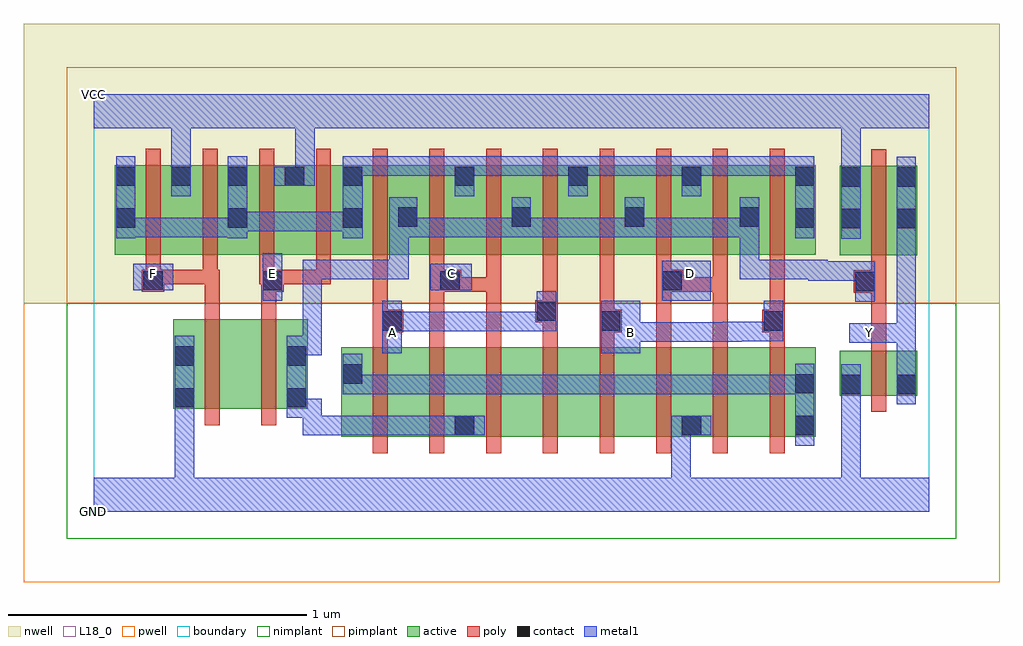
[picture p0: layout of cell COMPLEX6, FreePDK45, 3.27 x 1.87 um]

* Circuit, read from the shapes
.subckt COMPLEX6 A B C D E F GND VCC Y
M1 n1 F GND VSUBS nfet w=0.3u l=0.05u
M2 n2 E n1 VSUBS nfet w=0.3u l=0.05u
M3 n3 A n4 VSUBS nfet w=0.3u l=0.05u
M4 n2 C n3 VSUBS nfet w=0.3u l=0.05u
M5 n5 C n2 VSUBS nfet w=0.3u l=0.05u
M6 n6 A n5 VSUBS nfet w=0.3u l=0.05u
M7 n7 B n6 VSUBS nfet w=0.3u l=0.05u
M8 GND D n7 VSUBS nfet w=0.3u l=0.05u
M9 n8 D GND VSUBS nfet w=0.3u l=0.05u
M10 n4 B n8 VSUBS nfet w=0.3u l=0.05u
M11 Y n2 GND VSUBS nfet w=0.15u l=0.05u
M12 VCC F n9 n10 pfet w=0.3u l=0.05u m=2
M13 VCC E n9 n10 pfet w=0.3u l=0.05u m=2
M14 n2 A n9 n10 pfet w=0.3u l=0.05u m=2
M15 n9 C n2 n10 pfet w=0.3u l=0.05u m=2
M16 n2 B n9 n10 pfet w=0.3u l=0.05u m=2
M17 n9 D n2 n10 pfet w=0.3u l=0.05u m=2
M18 Y n2 VCC n10 pfet w=0.3u l=0.05u
.ends

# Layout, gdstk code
import gdstk
lib = gdstk.Library(unit=1e-6, precision=1e-09)
def R(c, l, rs):  # rectangles x0, y0, x1, y1
    for r in rs: c.add(gdstk.rectangle(r[:2], r[2:], *l))
def A(c, l, x, y, w, h, nx, ny, dx, dy):  # array of equal rectangles
    R(c, l, [(x+i*dx, y+j*dy, x+i*dx+w, y+j*dy+h) for i in range(nx) for j in range(ny)])
active = (1, 0)
pwell = (2, 0)
nwell = (3, 0)
nimplant = (4, 0)
pimplant = (5, 0)
poly = (9, 0)
contact = (10, 0)
metal1 = (11, 0)
L18_0 = (18, 0)
boundary = (235, 0)

complex6 = lib.new_cell('COMPLEX6')
A(complex6, active, 1.015, 0.862, 0.265, 0.3, 5, 1, 0.19, 0)
A(complex6, active, 1.015, 0.95, 0.075, 0.12, 3, 1, 0.38, 0)
R(complex6, active, [(0.83,0.252,1.055,0.552), (1.055,0.252,1.28,0.552), (1.205,0.252,1.435,0.552), (1.205,0.252,1.28,0.392), (1.435,0.252,1.625,0.552), (1.625,0.252,1.815,0.552), (1.815,0.252,2.04,0.552), (1.965,0.252,2.195,0.552), (1.965,0.252,2.04,0.392), (2.195,0.252,2.42,0.552), (2.345,0.252,2.42,0.552), (0.83,0.33,0.905,0.552), (0.267,0.345,0.342,0.645), (0.267,0.345,0.492,0.645), (0.492,0.345,0.717,0.645), (0.642,0.345,0.717,0.645), (2.5,0.39,2.575,0.54), (2.5,0.39,2.76,0.54), (2.685,0.39,2.76,0.54), (2.5,0.86,2.575,1.16), (2.5,0.86,2.76,1.16), (2.685,0.86,2.76,1.16), (0.07,0.862,0.145,1.162), (0.07,0.862,0.33,1.162), (0.255,0.862,0.52,1.162), (0.445,0.862,0.71,1.162), (0.635,0.862,0.905,1.162), (0.83,0.862,1.09,1.162), (1.965,0.862,2.235,1.162), (2.16,0.862,2.42,1.162), (2.345,0.862,2.42,1.162), (0.445,0.88,0.52,1.162), (1.585,0.912,1.66,1.162), (0.83,0.947,0.905,1.162), (2.16,0.95,2.235,1.07), (0.255,0.995,0.33,1.162), (0.635,0.995,0.71,1.162), (1.205,0.995,1.28,1.162), (1.965,0.995,2.04,1.162)])
R(complex6, pwell, [(-0.235,-0.235,3.035,0.7)])
R(complex6, nwell, [(-0.235,0.7,3.035,1.635)])
R(complex6, nimplant, [(-0.09,-0.09,2.89,0.7)])
R(complex6, pimplant, [(-0.09,0.7,2.89,1.49)])
A(complex6, poly, 0.935, 0.197, 0.05, 0.41, 8, 1, 0.19, 0)
A(complex6, poly, 0.175, 0.762, 0.05, 0.095, 4, 1, 0.19, 0)
A(complex6, poly, 0.175, 0.807, 0.05, 0.41, 12, 1, 0.19, 0)
R(complex6, poly, [(0.372,0.29,0.422,0.7), (0.562,0.29,0.612,0.7), (2.605,0.335,2.655,0.595), (2.605,0.545,2.655,0.785), (0.935,0.557,0.985,0.652), (1.125,0.557,1.175,0.787), (1.315,0.557,1.365,0.787), (1.505,0.557,1.555,0.685), (1.695,0.557,1.745,0.652), (1.885,0.557,1.935,0.787), (2.075,0.557,2.125,0.787), (2.265,0.557,2.315,0.652), (0.935,0.602,1.037,0.677), (1.695,0.602,1.77,0.677), (2.24,0.602,2.315,0.677), (0.935,0.627,0.985,0.677), (0.935,0.627,0.985,0.677), (0.935,0.627,0.985,0.857), (1.695,0.627,1.745,0.677), (1.695,0.627,1.745,0.677), (1.695,0.627,1.745,0.857), (2.265,0.627,2.315,0.677), (2.265,0.627,2.315,0.677), (2.265,0.627,2.315,0.857), (1.48,0.635,1.555,0.71), (0.372,0.65,0.422,0.812), (0.562,0.65,0.612,0.787), (1.505,0.66,1.555,0.71), (1.505,0.66,1.555,0.71), (1.505,0.66,1.555,0.857), (2.547,0.735,2.655,0.81), (2.605,0.735,2.655,0.785), (2.605,0.735,2.655,0.785), (0.162,0.737,0.237,0.812), (0.562,0.737,0.637,0.812), (1.125,0.737,1.175,0.787), (1.125,0.737,1.175,0.787), (1.125,0.737,1.232,0.812), (1.182,0.737,1.232,0.787), (1.182,0.737,1.232,0.787), (1.182,0.737,1.365,0.787), (1.315,0.737,1.365,0.787), (1.315,0.737,1.365,0.787), (1.315,0.737,1.365,0.787), (1.315,0.737,1.365,0.857), (1.885,0.737,1.935,0.787), (1.885,0.737,1.935,0.787), (1.885,0.737,2.125,0.787), (1.885,0.737,1.975,0.812), (2.075,0.737,2.125,0.787), (2.075,0.737,2.125,0.787), (2.075,0.737,2.125,0.787), (2.075,0.737,2.125,0.787), (2.075,0.737,2.125,0.787), (2.075,0.737,2.125,0.857), (2.605,0.76,2.655,0.855), (0.187,0.762,0.415,0.812), (0.365,0.762,0.415,0.812), (0.365,0.762,0.415,0.812), (0.365,0.762,0.422,0.812), (0.372,0.762,0.422,0.812), (0.372,0.762,0.422,0.812), (0.555,0.762,0.612,0.812), (0.562,0.762,0.612,0.812), (0.562,0.762,0.612,0.812), (0.562,0.762,0.612,0.812), (0.562,0.762,0.795,0.812), (0.745,0.762,0.795,0.812), (1.125,0.762,1.175,0.857), (1.885,0.762,1.935,0.857), (2.605,0.805,2.655,1.215)])
A(complex6, contact, 1.02, 0.955, 0.065, 0.065, 3, 1, 0.38, 0)
A(complex6, contact, 0.26, 1.092, 0.065, 0.065, 3, 1, 0.19, 0)
A(complex6, contact, 1.21, 1.092, 0.065, 0.065, 4, 1, 0.38, 0)
R(complex6, contact, [(1.21,0.257,1.275,0.322), (1.97,0.257,2.035,0.322), (2.35,0.257,2.415,0.322), (0.272,0.35,0.337,0.415), (0.647,0.35,0.712,0.415), (2.505,0.395,2.57,0.46), (2.69,0.395,2.755,0.46), (2.35,0.397,2.415,0.462), (0.835,0.43,0.9,0.495), (0.272,0.49,0.337,0.555), (0.647,0.49,0.712,0.555), (0.967,0.607,1.032,0.672), (1.7,0.607,1.765,0.672), (2.245,0.607,2.31,0.672), (1.485,0.64,1.55,0.705), (2.552,0.74,2.617,0.805), (0.167,0.742,0.232,0.807), (0.567,0.742,0.632,0.807), (1.162,0.742,1.227,0.807), (1.905,0.742,1.97,0.807), (2.505,0.95,2.57,1.015), (2.69,0.95,2.755,1.015), (0.075,0.952,0.14,1.017), (0.45,0.952,0.515,1.017), (0.835,0.952,0.9,1.017), (2.35,0.952,2.415,1.017), (2.165,0.955,2.23,1.02), (2.505,1.09,2.57,1.155), (2.69,1.09,2.755,1.155), (0.075,1.092,0.14,1.157), (0.835,1.092,0.9,1.157)])
A(complex6, metal1, 1.21, 1.057, 0.065, 0.135, 3, 1, 0.38, 0)
R(complex6, metal1, [(0,0,2.8,0.115), (0.272,0.05,0.337,0.115), (0.272,0.05,0.337,0.115), (0.272,0.05,0.337,0.38), (1.935,0.05,2,0.322), (2.505,0.05,2.57,0.115), (2.505,0.05,2.57,0.115), (2.505,0.05,2.57,0.425), (2.35,0.222,2.415,0.497), (0.7,0.257,0.902,0.322), (0.7,0.257,0.765,0.38), (0.837,0.257,0.902,0.322), (0.837,0.257,1.04,0.322), (0.975,0.257,1.04,0.322), (0.975,0.257,1.04,0.322), (0.975,0.257,1.04,0.322), (0.975,0.257,1.24,0.322), (1.175,0.257,1.24,0.322), (1.175,0.257,1.24,0.322), (1.175,0.257,1.31,0.322), (1.935,0.257,2,0.322), (1.935,0.257,2,0.322), (1.935,0.257,2.07,0.322), (0.272,0.315,0.337,0.59), (0.647,0.315,0.712,0.59), (0.647,0.315,0.765,0.38), (2.505,0.36,2.57,0.425), (2.505,0.36,2.57,0.425), (2.505,0.36,2.57,0.495), (2.69,0.36,2.755,0.495), (0.835,0.395,0.9,0.53), (0.835,0.395,1.055,0.46), (0.99,0.395,1.055,0.46), (0.99,0.395,1.055,0.46), (0.99,0.395,1.055,0.46), (0.99,0.395,1.275,0.46), (1.21,0.395,1.275,0.46), (1.21,0.395,1.275,0.46), (1.21,0.395,1.275,0.46), (1.21,0.395,1.412,0.46), (1.347,0.395,1.412,0.46), (1.347,0.395,1.412,0.46), (1.347,0.395,1.412,0.46), (1.347,0.395,1.627,0.46), (1.562,0.395,1.627,0.46), (1.562,0.395,1.627,0.46), (1.562,0.395,1.627,0.46), (1.562,0.395,1.832,0.46), (1.767,0.395,1.832,0.46), (1.767,0.395,1.832,0.46), (1.767,0.395,1.832,0.46), (1.767,0.395,1.982,0.46), (1.917,0.395,1.982,0.46), (1.917,0.395,1.982,0.46), (1.917,0.395,1.982,0.46), (1.917,0.395,2.172,0.46), (2.107,0.395,2.172,0.46), (2.107,0.395,2.172,0.46), (2.107,0.395,2.172,0.46), (2.107,0.395,2.31,0.46), (2.245,0.395,2.31,0.46), (2.245,0.395,2.415,0.46), (2.69,0.43,2.755,0.632), (0.647,0.525,0.712,0.59), (0.647,0.525,0.765,0.59), (0.7,0.525,0.765,0.845), (0.967,0.532,1.032,0.707), (1.7,0.532,1.832,0.707), (2.532,0.567,2.755,0.632), (2.69,0.567,2.755,0.98), (2.69,0.567,2.755,0.632), (2.69,0.567,2.755,0.632), (1.767,0.57,1.832,0.635), (1.767,0.57,1.832,0.635), (1.767,0.57,1.982,0.635), (1.917,0.57,1.982,0.635), (1.917,0.57,1.982,0.635), (1.917,0.57,1.982,0.635), (1.917,0.57,2.172,0.635), (2.107,0.57,2.172,0.637), (2.107,0.572,2.172,0.637), (2.107,0.572,2.172,0.637), (2.107,0.572,2.31,0.637), (2.245,0.572,2.31,0.707), (0.967,0.605,1.04,0.67), (0.975,0.605,1.04,0.67), (0.975,0.605,1.275,0.67), (1.21,0.605,1.275,0.67), (1.21,0.605,1.275,0.67), (1.21,0.605,1.275,0.67), (1.21,0.605,1.412,0.67), (1.347,0.605,1.412,0.67), (1.347,0.605,1.412,0.67), (1.347,0.605,1.412,0.67), (1.347,0.605,1.55,0.67), (1.485,0.605,1.55,0.74), (2.552,0.705,2.617,0.84), (0.567,0.707,0.632,0.867), (1.905,0.707,2.067,0.842), (0.132,0.742,0.267,0.832), (1.127,0.742,1.267,0.832), (2.395,0.775,2.46,0.84), (2.395,0.775,2.46,0.84), (2.395,0.775,2.617,0.84), (2.395,0.775,2.46,0.845), (0.7,0.78,0.765,0.845), (0.7,0.78,0.765,0.845), (0.7,0.78,0.765,0.845), (0.7,0.78,0.77,0.845), (0.705,0.78,0.77,0.845), (0.705,0.78,0.902,0.845), (0.837,0.78,0.902,0.845), (0.837,0.78,1.055,0.845), (0.99,0.78,1.055,0.845), (0.99,0.78,1.055,0.845), (0.99,0.78,1.055,0.845), (0.99,0.78,1.055,0.985), (2.165,0.78,2.23,0.845), (2.165,0.78,2.31,0.845), (2.165,0.78,2.23,0.985), (2.245,0.78,2.31,0.845), (2.245,0.78,2.46,0.845), (2.505,0.915,2.57,1.19), (2.69,0.915,2.755,1.19), (0.075,0.917,0.14,1.192), (0.45,0.917,0.515,1.192), (0.835,0.917,0.902,1.192), (2.35,0.917,2.415,1.192), (0.075,0.92,0.14,0.985), (0.075,0.92,0.14,0.985), (0.075,0.92,0.377,0.985), (0.312,0.92,0.377,0.985), (0.312,0.92,0.377,0.985), (0.312,0.92,0.377,0.985), (0.312,0.92,0.515,0.985), (0.99,0.92,1.085,1.055), (1.02,0.92,1.275,0.985), (1.21,0.92,1.275,0.985), (1.21,0.92,1.275,0.985), (1.21,0.92,1.275,0.985), (1.21,0.92,1.412,0.985), (1.347,0.92,1.412,0.985), (1.347,0.92,1.465,0.985), (1.4,0.92,1.465,1.055), (1.4,0.92,1.627,0.985), (1.562,0.92,1.627,0.985), (1.562,0.92,1.627,0.985), (1.562,0.92,1.627,0.985), (1.562,0.92,1.832,0.985), (1.767,0.92,1.832,0.985), (1.767,0.92,1.845,0.985), (1.78,0.92,1.845,1.055), (1.78,0.92,2,0.985), (1.935,0.92,2,0.985), (1.935,0.92,2,0.985), (1.935,0.92,2,0.985), (1.935,0.92,2.172,0.985), (2.107,0.92,2.172,0.985), (2.107,0.92,2.23,0.985), (2.165,0.92,2.23,1.055), (0.45,0.94,0.515,1.005), (0.45,0.94,0.515,1.005), (0.45,0.94,0.735,1.005), (0.67,0.94,0.735,1.005), (0.67,0.94,0.77,1.005), (0.705,0.94,0.77,1.005), (0.705,0.94,0.9,1.005), (0.26,1.057,0.325,1.192), (0.605,1.092,0.74,1.157), (0.675,1.092,0.74,1.35), (2.505,1.125,2.57,1.19), (2.505,1.125,2.57,1.19), (2.505,1.125,2.57,1.35), (0.26,1.127,0.325,1.35), (0.837,1.127,0.902,1.192), (0.837,1.127,0.902,1.192), (0.837,1.127,1.04,1.192), (0.975,1.127,1.04,1.192), (0.975,1.127,1.04,1.192), (0.975,1.127,1.04,1.192), (0.975,1.127,1.275,1.192), (1.21,1.127,1.275,1.192), (1.21,1.127,1.275,1.192), (1.21,1.127,1.412,1.192), (1.347,1.127,1.412,1.192), (1.347,1.127,1.412,1.192), (1.347,1.127,1.412,1.192), (1.347,1.127,1.627,1.192), (1.562,1.127,1.627,1.192), (1.562,1.127,1.655,1.192), (1.59,1.127,1.832,1.192), (1.767,1.127,1.832,1.192), (1.767,1.127,1.832,1.192), (1.767,1.127,1.832,1.192), (1.767,1.127,2.035,1.192), (1.97,1.127,2.035,1.192), (1.97,1.127,2.035,1.192), (1.97,1.127,2.172,1.192), (2.107,1.127,2.172,1.192), (2.107,1.127,2.172,1.192), (2.107,1.127,2.172,1.192), (2.107,1.127,2.31,1.192), (2.245,1.127,2.31,1.192), (2.245,1.127,2.415,1.192), (0,1.285,2.8,1.4), (0.26,1.285,0.325,1.35), (0.26,1.285,0.325,1.35), (0.675,1.285,0.74,1.35), (0.675,1.285,0.74,1.35)])
A(complex6, L18_0, 0.967, 0.567, 0.065, 0.065, 3, 1, 0.8, 0)
R(complex6, L18_0, [(0,0,2.8,0.115), (0.272,0.05,0.337,0.115), (0.272,0.05,0.337,0.115), (0.272,0.05,0.337,0.38), (1.935,0.05,2,0.322), (2.505,0.05,2.57,0.115), (2.505,0.05,2.57,0.115), (2.505,0.05,2.57,0.425), (1.935,0.257,2,0.322), (1.935,0.257,2,0.322), (1.935,0.257,2.07,0.322), (0.272,0.315,0.337,0.59), (2.505,0.36,2.57,0.425), (2.505,0.36,2.57,0.425), (2.505,0.36,2.57,0.495), (2.69,0.36,2.755,0.495), (2.69,0.43,2.755,0.632), (0.967,0.532,1.032,0.707), (1.7,0.532,1.832,0.707), (2.532,0.567,2.755,0.632), (2.69,0.567,2.755,0.632), (2.69,0.567,2.755,0.632), (2.69,0.567,2.755,0.98), (1.767,0.57,1.832,0.635), (1.767,0.57,1.832,0.635), (1.767,0.57,1.982,0.635), (1.917,0.57,1.982,0.635), (1.917,0.57,1.982,0.635), (1.917,0.57,1.982,0.635), (1.917,0.57,2.172,0.635), (2.107,0.57,2.172,0.637), (2.107,0.572,2.172,0.637), (2.107,0.572,2.172,0.637), (2.107,0.572,2.31,0.637), (2.245,0.572,2.31,0.707), (0.967,0.605,1.04,0.67), (0.975,0.605,1.04,0.67), (0.975,0.605,1.275,0.67), (1.21,0.605,1.275,0.67), (1.21,0.605,1.275,0.67), (1.21,0.605,1.275,0.67), (1.21,0.605,1.412,0.67), (1.347,0.605,1.412,0.67), (1.347,0.605,1.412,0.67), (1.347,0.605,1.412,0.67), (1.347,0.605,1.55,0.67), (1.485,0.605,1.55,0.74), (0.567,0.707,0.632,0.867), (1.905,0.707,2.067,0.842), (0.132,0.742,0.267,0.832), (1.127,0.742,1.267,0.832), (0.167,0.767,0.232,0.832), (0.567,0.767,0.632,0.832), (1.167,0.767,1.232,0.832), (1.967,0.767,2.032,0.832), (2.505,0.915,2.57,1.19), (2.69,0.915,2.755,1.19), (0.26,1.057,0.325,1.192), (0.605,1.092,0.74,1.157), (0.675,1.092,0.74,1.35), (2.505,1.125,2.57,1.19), (2.505,1.125,2.57,1.19), (2.505,1.125,2.57,1.35), (0.26,1.127,0.325,1.35), (0,1.285,2.8,1.4), (0.26,1.285,0.325,1.35), (0.26,1.285,0.325,1.35), (0.675,1.285,0.74,1.35), (0.675,1.285,0.74,1.35)])
R(complex6, boundary, [(0,0,2.8,1.4)])
complex6.add(gdstk.Label('A', (1,0.6), layer=11, texttype=0))
complex6.add(gdstk.Label('B', (1.8,0.6), layer=11, texttype=0))
complex6.add(gdstk.Label('C', (1.2,0.8), layer=11, texttype=0))
complex6.add(gdstk.Label('D', (2,0.8), layer=11, texttype=0))
complex6.add(gdstk.Label('E', (0.6,0.8), layer=11, texttype=0))
complex6.add(gdstk.Label('F', (0.2,0.8), layer=11, texttype=0))
complex6.add(gdstk.Label('Y', (2.6,0.6), layer=11, texttype=0))
complex6.add(gdstk.Label('VCC', (0,1.4), layer=11, texttype=0))
complex6.add(gdstk.Label('GND', (0,0), layer=11, texttype=0))

lib.write_gds('COMPLEX6.gds')
